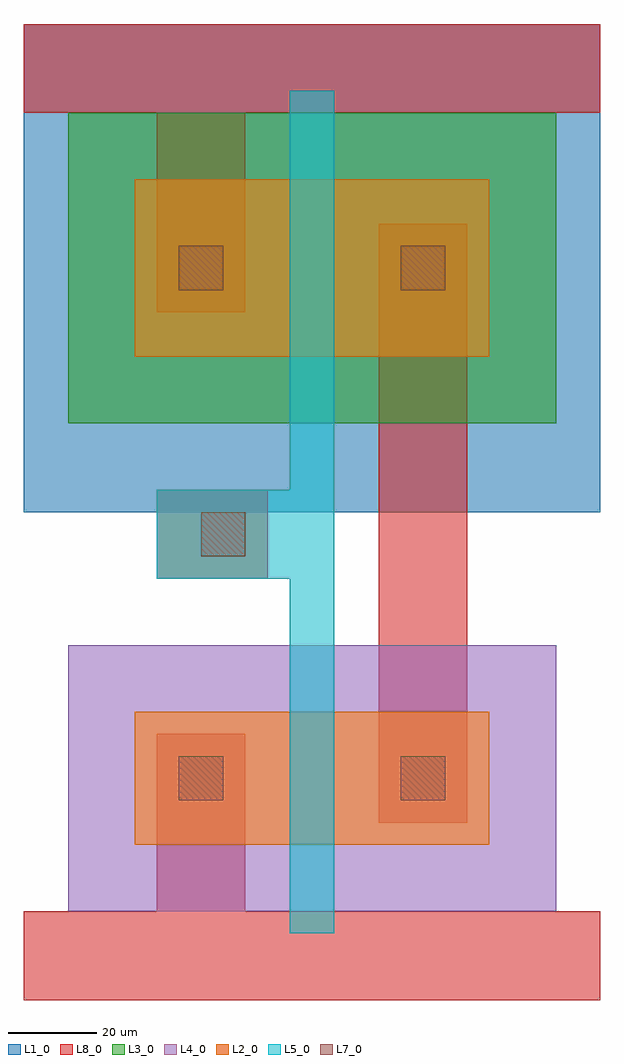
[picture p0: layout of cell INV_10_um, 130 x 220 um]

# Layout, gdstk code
import gdstk
lib = gdstk.Library(unit=1e-6, precision=1e-12)
def R(c, l, rs):  # rectangles x0, y0, x1, y1
    for r in rs: c.add(gdstk.rectangle(r[:2], r[2:], *l))
L1_0 = (1, 0)
L2_0 = (2, 0)
L3_0 = (3, 0)
L4_0 = (4, 0)
L5_0 = (5, 0)
L7_0 = (7, 0)
L8_0 = (8, 0)

inv_10_um = lib.new_cell('INV_10_um')
R(inv_10_um, L1_0, [(0,110,130,220)])
R(inv_10_um, L2_0, [(25,35,105,65), (25,145,105,185)])
R(inv_10_um, L3_0, [(10,130,120,200)])
R(inv_10_um, L4_0, [(10,20,120,80)])
R(inv_10_um, L5_0, [(60,15,70,205), (30,95,70,115)])
R(inv_10_um, L7_0, [(35,45,45,55), (85,45,95,55), (40,100,50,110), (35,160,45,170), (85,160,95,170)])
R(inv_10_um, L8_0, [(0,0,130,20), (30,0,50,60), (80,40,100,175), (30,95,55,115), (30,155,50,220), (0,200,130,220)])

lib.write_gds('INV_10_um.gds')
